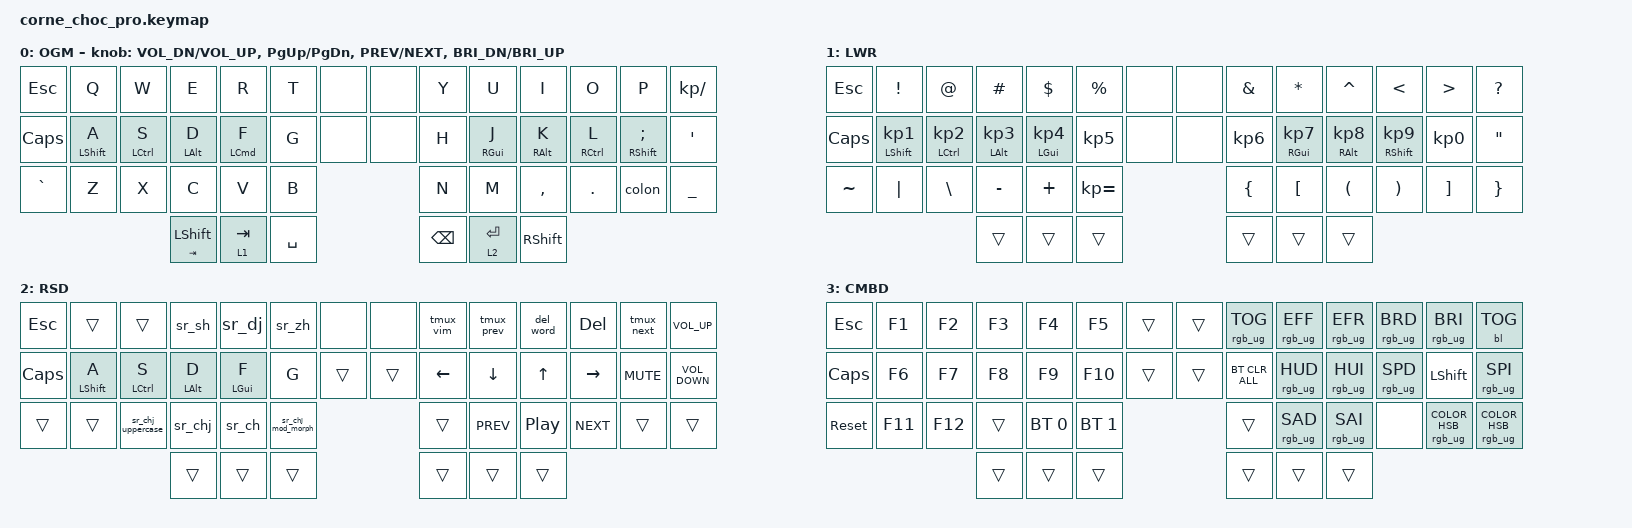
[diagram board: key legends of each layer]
/*
 * Copyright (c) 2020 The ZMK Contributors
 *
 * SPDX-License-Identifier: MIT
 */

#include <behaviors.dtsi>
#include <dt-bindings/zmk/backlight.h>
#include <dt-bindings/zmk/bt.h>
#include <dt-bindings/zmk/keys.h>
#include <dt-bindings/zmk/rgb.h>

/ {
    chosen { zmk,physical-layout = &default_layout; };
};

/ {
    behaviors {
        hmr: hmr {
            compatible = "zmk,behavior-hold-tap";
            label = "HMR";
            bindings = <&kp>, <&kp>;

            #binding-cells = <2>;
            tapping-term-ms = <200>;
            flavor = "tap-preferred";
            hold-trigger-key-positions = <23 25 24 26>;
            hold-trigger-on-release;
            quick-tap-ms = <80>;
            require-prior-idle-ms = <60>;
        };

        hml: hml {
            compatible = "zmk,behavior-hold-tap";
            label = "HML";
            bindings = <&kp>, <&kp>;

            #binding-cells = <2>;
            tapping-term-ms = <200>;
            hold-trigger-key-positions = <15 16 17 18>;
            flavor = "tap-preferred";
            hold-trigger-on-release;
            quick-tap-ms = <80>;
            require-prior-idle-ms = <60>;
        };

        sr_chj_mod_morph: sr_chj_mod_morph {
            compatible = "zmk,behavior-mod-morph";
            #binding-cells = <0>;
            bindings = <&sr_chj>, <&sr_chj_uppercase>;

            mods = <(MOD_LSFT|MOD_RSFT)>;
        };

        one_shot: one_shot {
            compatible = "zmk,behavior-sticky-key";
            label = "ONE_SHOT";
            bindings = <&kp>;
            #binding-cells = <1>;
            quick-release;
            release-after-ms = <800>;
        };

        layertap_holdpref: layertap_holdpref {
            compatible = "zmk,behavior-hold-tap";
            label = "LAYERTAP_HOLDPREF";
            bindings = <&mo>, <&kp>;

            #binding-cells = <2>;
            tapping-term-ms = <170>;
            retro-tap;
        };

        oneshot_or_tab: oneshot_or_tab {
            compatible = "zmk,behavior-hold-tap";
            label = "ONESHOT_OR_TAB";
            bindings = <&kp>, <&one_shot>;

            #binding-cells = <2>;
            tapping-term-ms = <180>;
            retro-tap;
            flavor = "tap-preferred";
        };
    };

    combos {
        compatible = "zmk,combos";

        bt_clear {
            bindings = <&bt BT_CLR>;
            key-positions = <41 19 22>;
        };

        bt_0 {
            bindings = <&bt BT_SEL 0>;
            key-positions = <41 19 15>;
        };

        combined {
            bindings = <&mo 3>;
            key-positions = <41 44>;
        };

        caps_word {
            bindings = <&caps_word>;
            key-positions = <22 19>;
            layers = <0>;
        };
    };

    macros {
        sr_sh: sr_sh {
            compatible = "zmk,behavior-macro";
            #binding-cells = <0>;
            bindings = <&kp LS(RA(NUMBER_6)) &kp S>;
            label = "SR_SH";
            wait-ms = <10>;
        };

        sr_dj: sr_dj {
            compatible = "zmk,behavior-macro";
            #binding-cells = <0>;
            bindings = <&kp LS(RA(NUMBER_7)) &kp D>;
            label = "SR_DJ";
            wait-ms = <10>;
        };

        sr_chj: sr_chj {
            compatible = "zmk,behavior-macro";
            #binding-cells = <0>;
            bindings = <&macro_tap>, <&kp RA(SQT)>, <&macro_tap>, <&kp C>;

            label = "SR_CHJ";
            wait-ms = <20>;
        };

        sr_ch: sr_ch {
            compatible = "zmk,behavior-macro";
            #binding-cells = <0>;
            bindings = <&kp LS(RA(NUMBER_6)) &kp C>;
            label = "SR_CH";
            wait-ms = <10>;
        };

        sr_zh: sr_zh {
            compatible = "zmk,behavior-macro";
            #binding-cells = <0>;
            bindings = <&kp LS(RA(NUMBER_6)) &kp Z>;
            label = "SR_ZH";
            wait-ms = <10>;
        };

        sr_chj_uppercase: sr_chj_uppercase {
            compatible = "zmk,behavior-macro";
            #binding-cells = <0>;
            bindings =
                <&macro_release>,
                <&kp LSHFT &kp RSHFT>,
                <&macro_tap>,
                <&kp RA(SQT)>,
                <&macro_tap>,
                <&kp LS(C)>;

            label = "SR_CHJ_UPPERCASE";
            wait-ms = <20>;
        };

        colon: colon {
            compatible = "zmk,behavior-macro";
            #binding-cells = <0>;
            bindings = <&macro_tap>, <&kp LS(SEMICOLON)>;

            label = "COLON";
        };

        tmux_vim: tmux_vim {
            compatible = "zmk,behavior-macro";
            #binding-cells = <0>;
            bindings = <&macro_tap>, <&kp LC(A)>, <&macro_tap>, <&kp LBKT>;

            label = "TMUX_VIM";
        };

        del_word: del_word {
            compatible = "zmk,behavior-macro";
            #binding-cells = <0>;
            bindings = <&macro_tap>, <&kp LA(BACKSPACE)>;

            label = "DEL_WORD";
        };

        tmux_next: tmux_next {
            compatible = "zmk,behavior-macro";
            #binding-cells = <0>;
            bindings = <&macro_tap>, <&kp LC(A)>, <&macro_tap>, <&kp N>;

            label = "TMUX_NEXT";
        };

        tmux_prev: tmux_prev {
            compatible = "zmk,behavior-macro";
            #binding-cells = <0>;
            bindings = <&macro_tap>, <&kp LC(A)>, <&macro_tap>, <&kp P>;

            label = "TMUX_PREV";
        };
    };

    keymap {
        compatible = "zmk,keymap";

        default_layer {
            display-name = "OGM";

            // --------------------------------------------------------------------------------
            // |  TAB |  Q  |  W  |  E  |  R  |  T  |  MUTE |  PP   |  Y  |  U   |  I  |  O  |  P  | BSPC |
            // | CTRL |  A  |  S  |  D  |  F  |  G  |  LALT |  RALT |  H  |  J   |  K  |  L  |  ;  |  '   |
            // | SHFT |  Z  |  X  |  C  |  V  |  B  |               |  N  |  M   |  ,  |  .  |  /  | ESC  |
            //                    | GUI | LWR | SPC |               | ENT | RSE  | ALT |

            bindings = <
&kp ESCAPE    &kp Q              &kp W                &kp E                       &kp R                     &kp T      &none  &none  &kp Y          &kp U                       &kp I             &kp O                 &kp P                  &kp KP_DIVIDE
&kp CAPSLOCK  &hml LEFT_SHIFT A  &hml LEFT_CONTROL S  &hml LEFT_ALT D             &hml LEFT_COMMAND F       &kp G      &none  &none  &kp H          &hmr RIGHT_GUI J            &hmr RIGHT_ALT K  &hmr RIGHT_CONTROL L  &hmr RIGHT_SHIFT SEMI  &kp SINGLE_QUOTE
&kp GRAVE     &kp Z              &kp X                &kp C                       &kp V                     &kp B                    &kp N          &kp M                       &kp COMMA         &kp DOT               &colon                 &kp UNDER
                                                      &oneshot_or_tab TAB LSHIFT  &layertap_holdpref 1 TAB  &kp SPACE                &kp BACKSPACE  &layertap_holdpref 2 ENTER  &kp RSHIFT
            >;

            sensor-bindings = <&inc_dec_kp C_VOL_DN C_VOL_UP &inc_dec_kp PG_UP PG_DN &inc_dec_kp C_PREV C_NEXT &inc_dec_kp C_BRI_DN C_BRI_UP>;
        };

        lower_layer {
            display-name = "LWR";

            // -----------------------------------------------------------------------------------------
            // |  TAB |  1  |  2  |  3  |  4  |  5    |  LCTRL | RCTRL |  6  |  7  |  8  |  9  |  0  | BSPC |
            // | CTRL | BT1 | BT2 | BT3 | BT4 | BT5   |  LALT  | RALT  | LFT | DWN |  UP | RGT |     |      |
            // | SHFT | BTCR| RGB | RST | BOOT| Unlock|        |       |     |     |     |     |     |      |
            //                    | GUI |     | SPC   |        | ENT   |     | ALT |

            bindings = <
&kp ESCAPE  &kp EXCL                     &kp AT                  &kp HASH                   &kp DOLLAR                 &kp PERCENT      &none  &none  &kp AMPERSAND    &kp ASTERISK                &kp CARET                   &kp LESS_THAN                 &kp GREATER_THAN   &kp QUESTION
&kp CAPS    &hml LEFT_SHIFT KP_NUMBER_1  &hml LCTRL KP_NUMBER_2  &hml LEFT_ALT KP_NUMBER_3  &hml LEFT_GUI KP_NUMBER_4  &kp KP_NUMBER_5  &none  &none  &kp KP_NUMBER_6  &hmr RIGHT_GUI KP_NUMBER_7  &hmr RIGHT_ALT KP_NUMBER_8  &hmr RIGHT_SHIFT KP_NUMBER_9  &kp KP_NUMBER_0    &kp DOUBLE_QUOTES
&kp TILDE   &kp PIPE                     &kp BACKSLASH           &kp MINUS                  &kp PLUS                   &kp KP_EQUAL                   &kp LEFT_BRACE   &kp LEFT_BRACKET            &kp LEFT_PARENTHESIS        &kp RIGHT_PARENTHESIS         &kp RIGHT_BRACKET  &kp RIGHT_BRACE
                                                                 &trans                     &trans                     &trans                         &trans           &trans                      &trans
            >;
        };

        raised {
            bindings = <
&kp ESC       &trans             &trans             &sr_sh           &sr_dj           &sr_zh             &none   &none   &tmux_vim  &tmux_prev  &del_word     &kp DELETE  &tmux_next  &kp C_VOLUME_UP
&kp CAPSLOCK  &hml LEFT_SHIFT A  &hml LCTRL S       &hml LEFT_ALT D  &hml LEFT_GUI F  &kp G              &trans  &trans  &kp LEFT   &kp DOWN    &kp UP_ARROW  &kp RIGHT   &kp C_MUTE  &kp C_VOLUME_DOWN
&trans        &trans             &sr_chj_uppercase  &sr_chj          &sr_ch           &sr_chj_mod_morph                  &trans     &kp C_PREV  &kp C_PP      &kp C_NEXT  &trans      &trans
                                                    &trans           &trans           &trans                             &trans     &trans      &trans
            >;

            label = "RSD";
        };

        combined {
            bindings = <
&kp ESCAPE    &kp F1   &kp F2   &kp F3  &kp F4        &kp F5        &trans  &trans  &rgb_ug RGB_TOG  &rgb_ug RGB_EFF  &rgb_ug RGB_EFR  &rgb_ug RGB_BRD  &rgb_ug RGB_BRI                  &bl BL_TOG
&kp CAPSLOCK  &kp F6   &kp F7   &kp F8  &kp F9        &kp F10       &trans  &trans  &bt BT_CLR_ALL   &rgb_ug RGB_HUD  &rgb_ug RGB_HUI  &rgb_ug RGB_SPD  &kp LEFT_SHIFT                   &rgb_ug RGB_SPI
&sys_reset    &kp F11  &kp F12  &trans  &bt BT_SEL 0  &bt BT_SEL 1                  &trans           &rgb_ug RGB_SAD  &rgb_ug RGB_SAI  &none            &rgb_ug RGB_COLOR_HSB(0,100,52)  &rgb_ug RGB_COLOR_HSB(0,0,100)
                                &trans  &trans        &trans                        &trans           &trans           &trans
            >;

            label = "CMBD";
        };
    };
};
